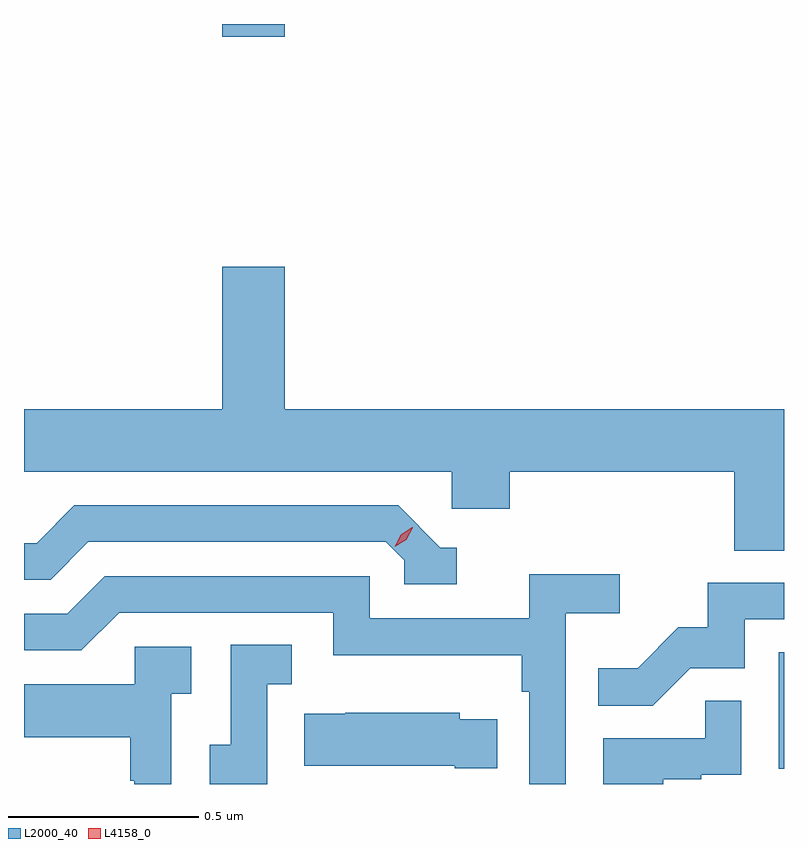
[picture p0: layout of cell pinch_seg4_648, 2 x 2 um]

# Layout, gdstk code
import gdstk
lib = gdstk.Library(unit=1e-6, precision=1e-09)
def R(c, l, rs):  # rectangles x0, y0, x1, y1
    for r in rs: c.add(gdstk.rectangle(r[:2], r[2:], *l))
def P(c, l, *ps):  # polygons
    for p in ps: c.add(gdstk.Polygon(p, *l))
L2000_40 = (2000, 40)
L4158_0 = (4158, 0)

pinch_seg4_648 = lib.new_cell('pinch_seg4_648')
R(pinch_seg4_648, L2000_40, [(1077.56,750.75,1077.574,751.057), (1076.096,752.676,1076.26,752.71)])
P(pinch_seg4_648, L2000_40, [(1077.574,751.696),(1076.26,751.696),(1076.26,752.071),(1076.096,752.071),(1076.096,751.696),(1075.574,751.696),(1075.574,751.532),(1076.7,751.532),(1076.7,751.434),(1076.852,751.434),(1076.852,751.532),(1077.443,751.532),(1077.443,751.324),(1077.574,751.324)],
  [(1076.713,751.332),(1076.67,751.332),(1076.559,751.443),(1075.706,751.443),(1075.607,751.344),(1075.574,751.344),(1075.574,751.248),(1075.644,751.248),(1075.743,751.347),(1076.526,751.347),(1076.574,751.299),(1076.574,751.236),(1076.713,751.236)],
  [(1077,751.16),(1077.142,751.16),(1077.142,751.262),(1076.903,751.262),(1076.903,751.146),(1076.484,751.146),(1076.484,751.257),(1075.787,751.257),(1075.688,751.158),(1075.574,751.158),(1075.574,751.062),(1075.725,751.062),(1075.824,751.161),(1076.388,751.161),(1076.388,751.049),(1076.884,751.049),(1076.884,750.953),(1076.904,750.953),(1076.904,750.71),(1077,750.71)],
  [(1077.327,751.014),(1077.471,751.014),(1077.471,751.143),(1077.574,751.143),(1077.574,751.239),(1077.373,751.239),(1077.373,751.122),(1077.296,751.122),(1077.189,751.015),(1077.085,751.015),(1077.085,750.916),(1077.229,750.916)],
  [(1076.214,750.973),(1076.278,750.973),(1076.278,751.076),(1076.118,751.076),(1076.118,750.813),(1076.063,750.813),(1076.063,750.71),(1076.214,750.71)],
  [(1075.962,750.947),(1076.014,750.947),(1076.014,751.071),(1075.866,751.071),(1075.866,750.973),(1075.574,750.973),(1075.574,750.833),(1075.854,750.833),(1075.854,750.719),(1075.864,750.719),(1075.864,750.71),(1075.962,750.71)],
  [(1077.256,750.723),(1077.356,750.723),(1077.356,750.735),(1077.462,750.735),(1077.462,750.929),(1077.367,750.929),(1077.367,750.831),(1077.098,750.831),(1077.098,750.71),(1077.256,750.71)],
  [(1076.819,750.88),(1076.721,750.88),(1076.721,750.898),(1076.419,750.898),(1076.419,750.895),(1076.311,750.895),(1076.311,750.758),(1076.708,750.758),(1076.708,750.751),(1076.819,750.751)])
P(pinch_seg4_648, L4158_0, [(1076.549,751.334),(1076.549,751.334),(1076.565,751.366),(1076.596,751.386),(1076.597,751.386),(1076.597,751.385),(1076.58,751.353),(1076.549,751.334)])

lib.write_gds('pinch_seg4_648.gds')
